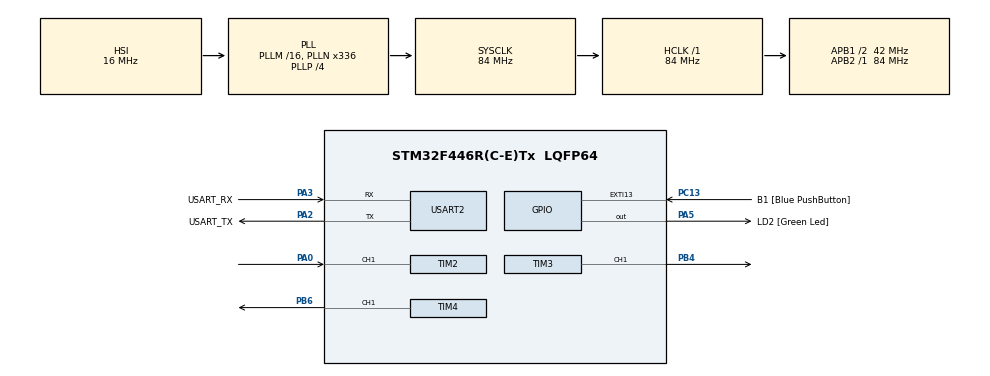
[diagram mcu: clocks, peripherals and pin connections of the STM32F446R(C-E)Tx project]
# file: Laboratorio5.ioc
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Mcu.Family=STM32F4
Mcu.Name=STM32F446R(C-E)Tx
Mcu.Package=LQFP64
NVIC.PriorityGroup=NVIC_PRIORITYGROUP_0
NVIC.USART2_IRQn=true\:0\:0\:false\:false\:true\:true\:true\:true
PA0-WKUP.Signal=S_TIM2_CH1_ETR
PA13.GPIO_Label=TMS
PA13.Signal=SYS_JTMS-SWDIO
PA14.GPIO_Label=TCK
PA14.Signal=SYS_JTCK-SWCLK
PA2.GPIO_Label=USART_TX
PA2.Mode=Asynchronous
PA2.Signal=USART2_TX
PA3.GPIO_Label=USART_RX
PA3.Mode=Asynchronous
PA3.Signal=USART2_RX
PA5.GPIO_Label=LD2 [Green Led]
PA5.Signal=GPIO_Output
PB3.GPIO_Label=SWO
PB3.Signal=SYS_JTDO-SWO
PB4.Signal=S_TIM3_CH1
PB6.Signal=S_TIM4_CH1
PC13.GPIO_Label=B1 [Blue PushButton]
PC13.GPIO_ModeDefaultEXTI=GPIO_MODE_IT_FALLING
PC13.Signal=GPXTI13
PC14-OSC32_IN.Signal=RCC_OSC32_IN
PC15-OSC32_OUT.Signal=RCC_OSC32_OUT
PH0-OSC_IN.Signal=RCC_OSC_IN
PH1-OSC_OUT.Signal=RCC_OSC_OUT
ProjectManager.HeapSize=0x200
ProjectManager.StackSize=0x400
ProjectManager.TargetToolchain=STM32CubeIDE
RCC.AHBFreq_Value=84000000
RCC.APB1CLKDivider=RCC_HCLK_DIV2
RCC.APB1Freq_Value=42000000
RCC.APB1TimFreq_Value=84000000
RCC.APB2Freq_Value=84000000
RCC.APB2TimFreq_Value=84000000
RCC.CortexFreq_Value=84000000
RCC.FLatency-AdvancedSettings=FLASH_LATENCY_2
RCC.HCLKFreq_Value=84000000
RCC.HSE_VALUE=8000000
RCC.HSI_VALUE=16000000
RCC.LSE_VALUE=32768
RCC.PLLN=336
RCC.PLLP=RCC_PLLP_DIV4
RCC.SYSCLKFreq_VALUE=84000000
RCC.SYSCLKSource=RCC_SYSCLKSOURCE_PLLCLK
RCC.USBFreq_Value=168000000
RCC.VCOOutputFreq_Value=336000000
SH.S_TIM2_CH1_ETR.0=TIM2_CH1,Input_Capture1_from_TI1
SH.S_TIM3_CH1.0=TIM3_CH1,PWM Generation1 CH1
SH.S_TIM4_CH1.0=TIM4_CH1,PWM Generation1 CH1
TIM2.Channel-Input_Capture1_from_TI1=TIM_CHANNEL_1
TIM2.ICFilter_CH1=4
TIM2.Prescaler=83
TIM3.Channel-PWM\ Generation1\ CH1=TIM_CHANNEL_1
TIM3.Period=4999
TIM3.Prescaler=8399
TIM3.Pulse-PWM\ Generation1\ CH1=2500
TIM4.Channel-PWM\ Generation1\ CH1=TIM_CHANNEL_1
TIM4.Period=19999
TIM4.Prescaler=8399
TIM4.Pulse-PWM\ Generation1\ CH1=10000
USART2.VirtualMode=VM_ASYNC
board=NUCLEO-F446RE

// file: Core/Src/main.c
/* USER CODE BEGIN Header */
/**
  ******************************************************************************
  * @file           : main.c
  * @brief          : Main program body
  ******************************************************************************
  * @attention
  *
  * Copyright (c) 2026 STMicroelectronics.
  * All rights reserved.
  *
  * This software is licensed under terms that can be found in the LICENSE file
  * in the root directory of this software component.
  * If no LICENSE file comes with this software, it is provided AS-IS.
  *
  ******************************************************************************
  */
/* USER CODE END Header */
#include "main.h"
#include "tim.h"
#include "usart.h"
#include "gpio.h"

/* USER CODE BEGIN Includes */
#include <stdio.h>
#include <string.h>
/* USER CODE END Includes */

/* USER CODE BEGIN PV */
uint32_t captura1 = 0;
uint32_t captura2 = 0;
uint32_t periodo = 0;
uint32_t frecuencia = 0;

char mensaje[50];
/* USER CODE END PV */

void SystemClock_Config(void);

int main(void)
{

  /* MCU Configuration--------------------------------------------------------*/

  /* Reset of all peripherals, Initializes the Flash interface and the Systick. */
  HAL_Init();

  /* Configure the system clock */
  SystemClock_Config();

  /* Initialize all configured peripherals */
  MX_GPIO_Init();
  MX_TIM2_Init();
  MX_USART2_UART_Init();
  MX_TIM3_Init();
  MX_TIM4_Init();
  /* USER CODE BEGIN 2 */
  HAL_TIM_IC_Start(&htim2, TIM_CHANNEL_1);
  HAL_TIM_PWM_Start(&htim3, TIM_CHANNEL_1);
  HAL_TIM_PWM_Start(&htim4, TIM_CHANNEL_1);
  /* USER CODE END 2 */

  /* Infinite loop */
  while (1)
  {

    /* USER CODE BEGIN 3 */
	  /* Esperar primer flanco */
	  __HAL_TIM_CLEAR_FLAG(&htim2, TIM_FLAG_CC1);

	  while (__HAL_TIM_GET_FLAG(&htim2, TIM_FLAG_CC1) == RESET)
	  {
	  }

	  captura1 = HAL_TIM_ReadCapturedValue(&htim2, TIM_CHANNEL_1);

	  /* Esperar segundo flanco */
	  __HAL_TIM_CLEAR_FLAG(&htim2, TIM_FLAG_CC1);

	  while (__HAL_TIM_GET_FLAG(&htim2, TIM_FLAG_CC1) == RESET)
	  {
	  }

	  captura2 = HAL_TIM_ReadCapturedValue(&htim2, TIM_CHANNEL_1);

	  /* Calcular periodo segun Pablo Codigo*/
	  if (captura2 >= captura1)
	  {
	      periodo = captura2 - captura1;
	  }
	  else
	  {
	      periodo = (0xFFFFFFFF - captura1) + captura2 + 1;
	  }

	  /* Timer = 1 MHz, por lo tanto cada cuenta = 1 us */
	  if (periodo > 0)
	  {
	      frecuencia = 1000000 / periodo;
	  }

	  /* Enviar resultado por UART */
	  snprintf(mensaje, sizeof(mensaje),
	           "Frecuencia: %lu Hz\r\n",
	           (unsigned long)frecuencia);

	  HAL_UART_Transmit(&huart2,
	                    (uint8_t *)mensaje,
	                    strlen(mensaje),
	                    HAL_MAX_DELAY);

	  HAL_Delay(250);
  }
  /* USER CODE END 3 */
}

void SystemClock_Config(void)
{
  RCC_OscInitTypeDef RCC_OscInitStruct = {0};
  RCC_ClkInitTypeDef RCC_ClkInitStruct = {0};

  /** Configure the main internal regulator output voltage
  */
  __HAL_RCC_PWR_CLK_ENABLE();
  __HAL_PWR_VOLTAGESCALING_CONFIG(PWR_REGULATOR_VOLTAGE_SCALE3);

  /** Initializes the RCC Oscillators according to the specified parameters
  * in the RCC_OscInitTypeDef structure.
  */
  RCC_OscInitStruct.OscillatorType = RCC_OSCILLATORTYPE_HSI;
  RCC_OscInitStruct.HSIState = RCC_HSI_ON;
  RCC_OscInitStruct.HSICalibrationValue = RCC_HSICALIBRATION_DEFAULT;
  RCC_OscInitStruct.PLL.PLLState = RCC_PLL_ON;
  RCC_OscInitStruct.PLL.PLLSource = RCC_PLLSOURCE_HSI;
  RCC_OscInitStruct.PLL.PLLM = 16;
  RCC_OscInitStruct.PLL.PLLN = 336;
  RCC_OscInitStruct.PLL.PLLP = RCC_PLLP_DIV4;
  RCC_OscInitStruct.PLL.PLLQ = 2;
  RCC_OscInitStruct.PLL.PLLR = 2;
  if (HAL_RCC_OscConfig(&RCC_OscInitStruct) != HAL_OK)
  {
    Error_Handler();
  }

  /** Initializes the CPU, AHB and APB buses clocks
  */
  RCC_ClkInitStruct.ClockType = RCC_CLOCKTYPE_HCLK|RCC_CLOCKTYPE_SYSCLK
                              |RCC_CLOCKTYPE_PCLK1|RCC_CLOCKTYPE_PCLK2;
  RCC_ClkInitStruct.SYSCLKSource = RCC_SYSCLKSOURCE_PLLCLK;
  RCC_ClkInitStruct.AHBCLKDivider = RCC_SYSCLK_DIV1;
  RCC_ClkInitStruct.APB1CLKDivider = RCC_HCLK_DIV2;
  RCC_ClkInitStruct.APB2CLKDivider = RCC_HCLK_DIV1;

  if (HAL_RCC_ClockConfig(&RCC_ClkInitStruct, FLASH_LATENCY_2) != HAL_OK)
  {
    Error_Handler();
  }
}

void Error_Handler(void)
{
  __disable_irq();
  while (1)
  {
  }
}
